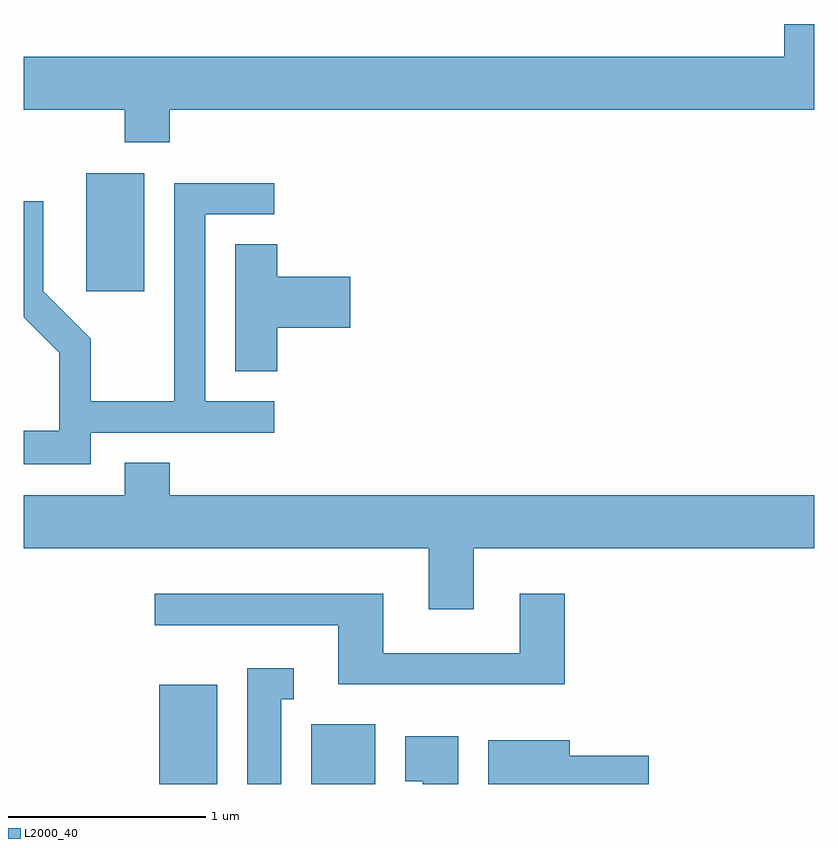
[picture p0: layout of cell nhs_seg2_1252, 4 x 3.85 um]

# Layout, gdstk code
import gdstk
lib = gdstk.Library(unit=1e-6, precision=1e-09)
def R(c, l, rs):  # rectangles x0, y0, x1, y1
    for r in rs: c.add(gdstk.rectangle(r[:2], r[2:], *l))
def P(c, l, *ps):  # polygons
    for p in ps: c.add(gdstk.Polygon(p, *l))
L2000_40 = (2000, 40)

nhs_seg2_1252 = lib.new_cell('nhs_seg2_1252')
R(nhs_seg2_1252, L2000_40, [(222.296,1033.802,222.589,1034.304), (223.066,1033.802,223.389,1034.104), (221.926,1036.296,222.219,1036.894)])
P(nhs_seg2_1252, L2000_40, [(221.611,1037.216),(222.121,1037.216),(222.121,1037.051),(222.349,1037.051),(222.349,1037.216),(225.611,1037.216),(225.611,1037.649),(225.461,1037.649),(225.461,1037.484),(221.611,1037.484)],
  [(221.949,1035.581),(222.878,1035.581),(222.878,1035.739),(222.529,1035.739),(222.529,1036.686),(222.878,1036.686),(222.878,1036.844),(222.371,1036.844),(222.371,1035.739),(221.949,1035.739),(221.949,1036.056),(221.709,1036.296),(221.709,1036.753),(221.611,1036.753),(221.611,1036.164),(221.791,1035.984),(221.791,1035.589),(221.611,1035.589),(221.611,1035.421),(221.949,1035.421)],
  [(222.894,1036.111),(223.264,1036.111),(223.264,1036.369),(222.894,1036.369),(222.894,1036.534),(222.681,1036.534),(222.681,1035.891),(222.894,1035.891)],
  [(223.889,1034.996),(225.611,1034.996),(225.611,1035.264),(222.349,1035.264),(222.349,1035.429),(222.121,1035.429),(222.121,1035.264),(221.611,1035.264),(221.611,1034.996),(223.661,1034.996),(223.661,1034.686),(223.889,1034.686)],
  [(224.349,1034.764),(224.121,1034.764),(224.121,1034.464),(223.429,1034.464),(223.429,1034.764),(222.273,1034.764),(222.273,1034.606),(223.201,1034.606),(223.201,1034.306),(224.349,1034.306)],
  [(222.914,1034.231),(222.978,1034.231),(222.978,1034.389),(222.741,1034.389),(222.741,1033.802),(222.914,1033.802)],
  [(223.809,1034.044),(223.541,1034.044),(223.541,1033.816),(223.631,1033.816),(223.631,1033.802),(223.809,1033.802)],
  [(224.774,1033.944),(224.374,1033.944),(224.374,1034.024),(223.961,1034.024),(223.961,1033.802),(224.774,1033.802)])

lib.write_gds('nhs_seg2_1252.gds')
